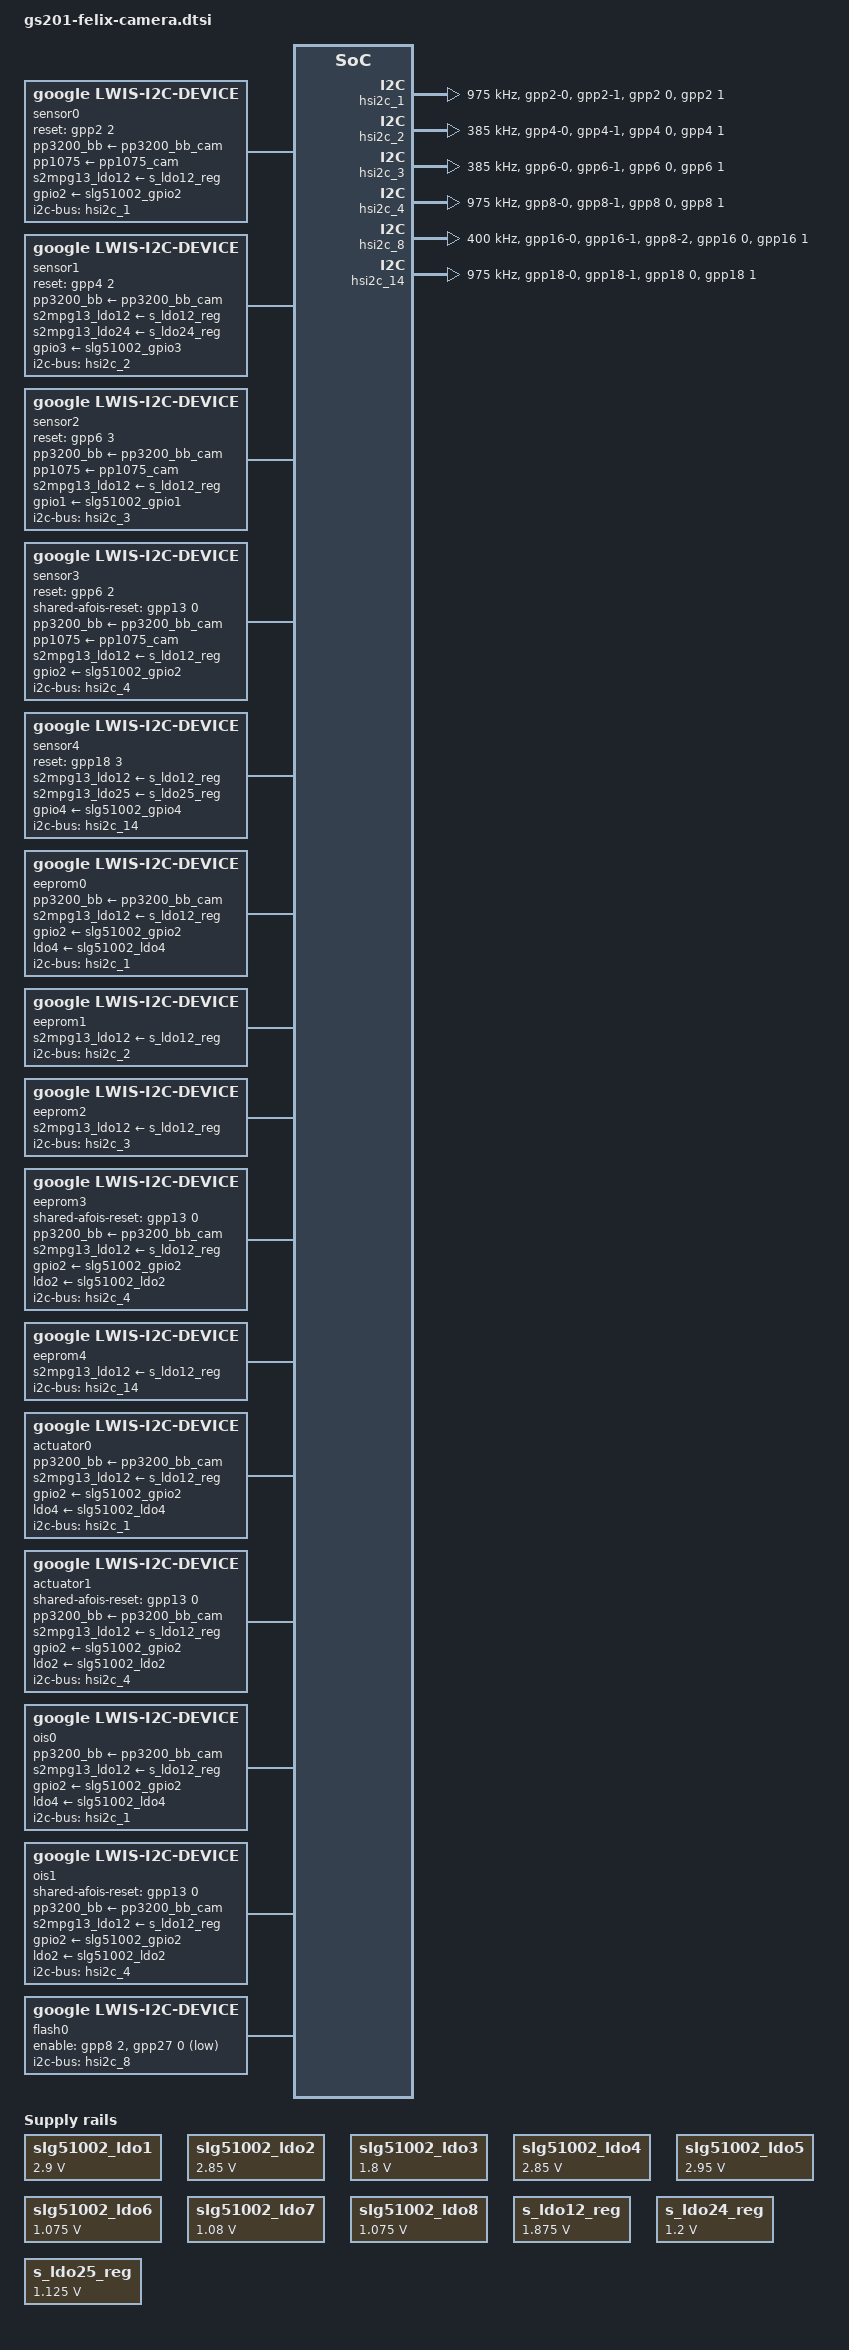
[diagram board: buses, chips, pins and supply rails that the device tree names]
// SPDX-License-Identifier: GPL-2.0-only
/*
 * gs201 camera lwis device tree for felix
 *
 * Copyright 2021 Google LLC.
 *
 */

#include <dt-bindings/clock/gs201.h>
#include <dt-bindings/gpio/gpio.h>
#include <arm64/exynos/exynos-pinctrl.h>
#include "gs201/gs101-pinctrl.h"

&slg51002_ldo1 {
	regulator-min-microvolt = <2900000>;
	regulator-max-microvolt = <2900000>;
};

&slg51002_ldo2 {
	regulator-min-microvolt = <2850000>;
	regulator-max-microvolt = <2850000>;
};

&slg51002_ldo3 {
	regulator-min-microvolt = <1800000>;
	regulator-max-microvolt = <1800000>;
};

&slg51002_ldo4 {
	regulator-min-microvolt = <2850000>;
	regulator-max-microvolt = <2850000>;
};

&slg51002_ldo5 {
	regulator-min-microvolt = <2950000>;
	regulator-max-microvolt = <2950000>;
};

&slg51002_ldo6 {
	regulator-min-microvolt = <1075000>;
	regulator-max-microvolt = <1075000>;
};

&slg51002_ldo7 {
	regulator-min-microvolt = <1080000>;
	regulator-max-microvolt = <1080000>;
};

&slg51002_ldo8 {
	regulator-min-microvolt = <1075000>;
	regulator-max-microvolt = <1075000>;
};

&s_ldo12_reg {
	regulator-min-microvolt = <1875000>;
	regulator-max-microvolt = <1875000>;
};

&s_ldo24_reg {
	regulator-min-microvolt = <1200000>;
	regulator-max-microvolt = <1200000>;
};

&s_ldo25_reg {
	regulator-min-microvolt = <1125000>;
	regulator-max-microvolt = <1125000>;
};

&pinctrl_4 {
	hsi2c1_bus: hsi2c1-bus {
		samsung,pin-pud = <EXYNOS_PIN_PULL_UP>;
	};

	hsi2c1_bus_in: hsi2c1-bus-in {
		samsung,pins = "gpp2-0", "gpp2-1";
		samsung,pin-function = <EXYNOS_PIN_FUNC_INPUT>;
		samsung,pin-pud = <EXYNOS_PIN_PULL_NONE>;
		samsung,pin-drv = <GS101_PIN_DRV_2_5_MA>;
	};

	hsi2c2_bus: hsi2c2-bus {
		samsung,pin-pud = <EXYNOS_PIN_PULL_UP>;
	};

	hsi2c2_bus_in: hsi2c2-bus-in {
		samsung,pins = "gpp4-0", "gpp4-1";
		samsung,pin-function = <EXYNOS_PIN_FUNC_INPUT>;
		samsung,pin-pud = <EXYNOS_PIN_PULL_NONE>;
		samsung,pin-drv = <GS101_PIN_DRV_2_5_MA>;
	};

	hsi2c3_bus: hsi2c3-bus {
		samsung,pin-pud = <EXYNOS_PIN_PULL_UP>;
	};

	hsi2c3_bus_in: hsi2c3-bus-in {
		samsung,pins = "gpp6-0", "gpp6-1";
		samsung,pin-function = <EXYNOS_PIN_FUNC_INPUT>;
		samsung,pin-pud = <EXYNOS_PIN_PULL_NONE>;
		samsung,pin-drv = <GS101_PIN_DRV_2_5_MA>;
	};

	hsi2c4_bus: hsi2c4-bus {
		samsung,pin-pud = <EXYNOS_PIN_PULL_UP>;
	};

	hsi2c4_bus_in: hsi2c4-bus-in {
		samsung,pins = "gpp8-0", "gpp8-1";
		samsung,pin-function = <EXYNOS_PIN_FUNC_INPUT>;
		samsung,pin-pud = <EXYNOS_PIN_PULL_NONE>;
		samsung,pin-drv = <GS101_PIN_DRV_2_5_MA>;
	};

	hsi2c14_bus: hsi2c14-bus {
		samsung,pin-pud = <EXYNOS_PIN_PULL_UP>;
	};

	hsi2c14_bus_in: hsi2c14-bus-in {
		samsung,pins = "gpp18-0", "gpp18-1";
		samsung,pin-function = <EXYNOS_PIN_FUNC_INPUT>;
		samsung,pin-pud = <EXYNOS_PIN_PULL_NONE>;
		samsung,pin-drv = <GS101_PIN_DRV_2_5_MA>;
	};

	hsi2c8_bus: hsi2c8-bus {
		samsung,pins = "gpp16-0", "gpp16-1";
		samsung,pin-con-pdn = <EXYNOS_PIN_PDN_PREV>;
	};

	/* GPP8[2] Flashlight Enable */
	flash_en: flash-en {
		samsung,pins = "gpp8-2";
		samsung,pin-function = <EXYNOS_PIN_FUNC_INPUT>;
		samsung,pin-pud = <EXYNOS_PIN_PULL_NONE>;
		samsung,pin-con-pdn = <EXYNOS_PIN_PDN_PREV>;
		samsung,pin-pud-pdn = <EXYNOS_PIN_PULL_NONE>;
	};

	sensor_mclk1_out: sensor-mclk1-out {
		samsung,pin-drv = <GS101_PIN_DRV_5_MA>;
	};
	sensor_mclk1_fn: sensor-mclk1-fn {
		samsung,pin-drv = <GS101_PIN_DRV_5_MA>;
	};
	sensor_mclk2_out: sensor-mclk2-out {
		samsung,pin-drv = <GS101_PIN_DRV_5_MA>;
	};
	sensor_mclk2_fn: sensor-mclk2-fn {
		samsung,pin-drv = <GS101_PIN_DRV_2_5_MA>;
	};
	sensor_mclk3_out: sensor-mclk3-out {
		samsung,pin-drv = <GS101_PIN_DRV_5_MA>;
	};
	sensor_mclk3_fn: sensor-mclk3-fn {
		samsung,pin-drv = <GS101_PIN_DRV_5_MA>;
	};
	sensor_mclk4_out: sensor-mclk4-out {
		samsung,pin-drv = <GS101_PIN_DRV_5_MA>;
	};
	sensor_mclk4_fn: sensor-mclk4-fn {
		samsung,pin-drv = <GS101_PIN_DRV_5_MA>;
	};
	sensor_mclk5_out: sensor-mclk5-out {
		samsung,pin-drv = <GS101_PIN_DRV_5_MA>;
	};
	sensor_mclk5_fn: sensor-mclk5-fn {
		samsung,pin-drv = <GS101_PIN_DRV_5_MA>;
	};
};

&hsi2c_1 {
	#address-cells = <1>;
	#size-cells = <0>;
	gpios = <&gpp2 0 GPIO_ACTIVE_HIGH &gpp2 1 GPIO_ACTIVE_HIGH>;
	status = "okay";
	clock-frequency = <975000>;
	samsung,reset-before-trans;

	pinctrl-names = "default","on_i2c","off_i2c";
	pinctrl-0 = <&hsi2c1_bus_in>;
	pinctrl-1 = <&hsi2c1_bus>;
	pinctrl-2 = <&hsi2c1_bus_in>;
};

&hsi2c_2 {
	#address-cells = <1>;
	#size-cells = <0>;
	gpios = <&gpp4 0 GPIO_ACTIVE_HIGH &gpp4 1 GPIO_ACTIVE_HIGH>;
	status = "okay";
	clock-frequency = <385000>;
	samsung,reset-before-trans;

	pinctrl-names = "default","on_i2c","off_i2c";
	pinctrl-0 = <&hsi2c2_bus_in>;
	pinctrl-1 = <&hsi2c2_bus>;
	pinctrl-2 = <&hsi2c2_bus_in>;
};

&hsi2c_3 {
	#address-cells = <1>;
	#size-cells = <0>;
	gpios = <&gpp6 0 GPIO_ACTIVE_HIGH &gpp6 1 GPIO_ACTIVE_HIGH>;
	status = "okay";
	clock-frequency = <385000>;
	samsung,reset-before-trans;

	pinctrl-names = "default","on_i2c","off_i2c";
	pinctrl-0 = <&hsi2c3_bus_in>;
	pinctrl-1 = <&hsi2c3_bus>;
	pinctrl-2 = <&hsi2c3_bus_in>;
};

&hsi2c_4 {
	#address-cells = <1>;
	#size-cells = <0>;
	gpios = <&gpp8 0 GPIO_ACTIVE_HIGH &gpp8 1 GPIO_ACTIVE_HIGH>;
	status = "okay";
	clock-frequency = <975000>;
	samsung,reset-before-trans;

	pinctrl-names = "default","on_i2c","off_i2c";
	pinctrl-0 = <&hsi2c4_bus_in>;
	pinctrl-1 = <&hsi2c4_bus>;
	pinctrl-2 = <&hsi2c4_bus_in>;
};

&hsi2c_8 {
	#address-cells = <1>;
	#size-cells = <0>;
	gpios = <&gpp16 0 GPIO_ACTIVE_HIGH &gpp16 1 GPIO_ACTIVE_HIGH>;
	status = "okay";
	clock-frequency = <400000>;

	pinctrl-names = "default","on_i2c","off_i2c","recovery";
	pinctrl-0 = <&hsi2c8_bus &flash_en>;
	pinctrl-1 = <&hsi2c8_bus>;
	pinctrl-2 = <&hsi2c8_bus>;
	pinctrl-3 = <>;
};

&hsi2c_14 {
	#address-cells = <1>;
	#size-cells = <0>;
	gpios = <&gpp18 0 GPIO_ACTIVE_HIGH &gpp18 1 GPIO_ACTIVE_HIGH>;
	status = "okay";
	clock-frequency = <975000>;

	pinctrl-names = "default","on_i2c","off_i2c";
	pinctrl-0 = <&hsi2c14_bus_in>;
	pinctrl-1 = <&hsi2c14_bus>;
	pinctrl-2 = <&hsi2c14_bus_in>;
};

/ {
	fragment@lwiscamera {
		target-path = "/";
		__overlay__ {
			/* REAR CAMERA OKSOKO */
			sensor0: sensor@0 {
				compatible = "google,lwis-i2c-device";

				/* Device node name */
				node-name = "sensor-oksoko";

				/* I2C */
				i2c-bus = <&hsi2c_1>;
				i2c-addr = <0x1A>;

				/* Registers */
				reg-addr-bitwidth = <16>;
				reg-value-bitwidth = <8>;

				/* GPIOs */
				/* CSID_RST_L GPP2[2] */
				reset-gpios = <&gpp2 2 GPIO_ACTIVE_HIGH>;

				/* Power supplies */
				pp3200_bb-supply = <&pp3200_bb_cam>;
				pp1075-supply = <&pp1075_cam>;
				s2mpg13_ldo12-supply = <&s_ldo12_reg>;
				gpio2-supply = <&slg51002_gpio2>;
				ldo1-supply = <&slg51002_ldo1>;
				ldo3-supply = <&slg51002_ldo3>;
				ldo4-supply = <&slg51002_ldo4>;
				ldo8-supply = <&slg51002_ldo8>;

				clocks =
					<&clock CIS_CLK3>,
					<&clock GATE_DFTMUX_CMU_CIS_CLK3>;
				clock-names =
					"CIS_CLK3",
					"GATE_DFTMUX_CMU_CIS_CLK3";
				clock-rates =
					<24000000>,
					<0>;

				/* MCLK Control */
				pinctrl-names = "mclk_on", "mclk_off";
				pinctrl-0 = <&sensor_mclk4_fn>;
				pinctrl-1 = <&sensor_mclk4_out>;

				/* Power up sequence */
				power-up-seqs =
					"pp3200_bb",
					"pp1075",
					"s2mpg13_ldo12",
					"gpio2",
					"ldo4",
					"ldo1",
					"ldo3",
					"ldo8",
					"reset",
					"mclk_on";
				power-up-seq-types =
					"regulator",
					"regulator",
					"regulator",
					"regulator",
					"regulator",
					"regulator",
					"regulator",
					"regulator",
					"gpio",
					"pinctrl";
				power-up-seq-delays-us =
					<0
					 0
					 1000
					 1000
					 1000
					 1000
					 1000
					 1000
					 1000
					 1000>;

				/* Power down sequence */
				power-down-seqs =
					"mclk_off",
					"reset",
					"ldo8",
					"ldo3",
					"ldo1",
					"ldo4",
					"gpio2",
					"s2mpg13_ldo12",
					"pp1075",
					"pp3200_bb";
				power-down-seq-types =
					"pinctrl",
					"gpio",
					"regulator",
					"regulator",
					"regulator",
					"regulator",
					"regulator",
					"regulator",
					"regulator",
					"regulator";
				power-down-seq-delays-us =
					<1000
					 1000
					 1000
					 1000
					 1000
					 1000
					 1000
					 1000
					 0
					 0>;
				transaction-thread-priority = <99>;
				i2c-lock-group-id = <0>;
			};

			/* FRONT CAMERA MEDUSA */
			sensor1: sensor@1 {
				compatible = "google,lwis-i2c-device";

				/* Device node name */
				node-name = "sensor-medusa";

				/* I2C */
				i2c-bus = <&hsi2c_2>;
				i2c-addr = <0x1A>;

				/* Registers */
				reg-addr-bitwidth = <16>;
				reg-value-bitwidth = <8>;

				/* GPIOs */
				reset-gpios = <&gpp4 2 GPIO_ACTIVE_HIGH>;

				/* Power supplies */
				pp3200_bb-supply = <&pp3200_bb_cam>;
				s2mpg13_ldo12-supply = <&s_ldo12_reg>;
				s2mpg13_ldo24-supply = <&s_ldo24_reg>;
				gpio3-supply = <&slg51002_gpio3>;

				clocks =
					<&clock CIS_CLK1>,
					<&clock GATE_DFTMUX_CMU_CIS_CLK1>;
				clock-names =
					"CIS_CLK1",
					"GATE_DFTMUX_CMU_CIS_CLK1";
				clock-rates =
					<24000000>,
					<0>;

				/* MCLK Control */
				pinctrl-names = "mclk_on", "mclk_off";
				pinctrl-0 = <&sensor_mclk2_fn>;
				pinctrl-1 = <&sensor_mclk2_out>;

				/* Power up sequence */
				power-up-seqs =
					"pp3200_bb",
					"s2mpg13_ldo12",
					"gpio3",
					"s2mpg13_ldo24",
					"mclk_on",
					"reset";
				power-up-seq-types =
					"regulator",
					"regulator",
					"regulator",
					"regulator",
					"pinctrl",
					"gpio";
				power-up-seq-delays-us =
					<0
					 1000
					 1000
					 1000
					 1000
					 1000>;

				/* Power down sequence */
				power-down-seqs =
					"reset",
					"mclk_off",
					"s2mpg13_ldo24",
					"gpio3",
					"s2mpg13_ldo12",
					"pp3200_bb";
				power-down-seq-types =
					"gpio",
					"pinctrl",
					"regulator",
					"regulator",
					"regulator",
					"regulator";
				power-down-seq-delays-us =
					<1000
					 1000
					 1000
					 1000
					 1000
					 0>;
				transaction-thread-priority = <99>;
				i2c-lock-group-id = <1>;
			};

			/* REAR ULTRA WIDE CAMERA SANDWORM */
			sensor2: sensor@2 {
				compatible = "google,lwis-i2c-device";

				/* Device node name */
				node-name = "sensor-sandworm";

				/* I2C */
				i2c-bus = <&hsi2c_3>;
				i2c-addr = <0x1A>;

				/* Registers */
				reg-addr-bitwidth = <16>;
				reg-value-bitwidth = <8>;

				/* GPIOs */
				reset-gpios = <&gpp6 3 GPIO_ACTIVE_HIGH>;

				/* Power supplies */
				pp3200_bb-supply = <&pp3200_bb_cam>;
				pp1075-supply = <&pp1075_cam>;
				s2mpg13_ldo12-supply = <&s_ldo12_reg>;
				gpio1-supply = <&slg51002_gpio1>;
				ldo6-supply = <&slg51002_ldo6>;

				clocks =
					<&clock CIS_CLK0>,
					<&clock GATE_DFTMUX_CMU_CIS_CLK0>;
				clock-names =
					"CIS_CLK0",
					"GATE_DFTMUX_CMU_CIS_CLK0";
				clock-rates =
					<24000000>,
					<0>;

				/* MCLK Control */
				pinctrl-names = "mclk_on", "mclk_off";
				pinctrl-0 = <&sensor_mclk1_fn>;
				pinctrl-1 = <&sensor_mclk1_out>;

				/* Power up sequence */
				power-up-seqs =
					"pp3200_bb",
					"pp1075",
					"s2mpg13_ldo12",
					"gpio1",
					"ldo6",
					"reset",
					"mclk_on";
				power-up-seq-types =
					"regulator",
					"regulator",
					"regulator",
					"regulator",
					"regulator",
					"gpio",
					"pinctrl";
				power-up-seq-delays-us =
					<0
					 0
					 1000
					 1000
					 1000
					 1000
					 10000>;

				/* Power down sequence */
				power-down-seqs =
					"mclk_off",
					"reset",
					"ldo6",
					"gpio1",
					"s2mpg13_ldo12",
					"pp1075",
					"pp3200_bb";
				power-down-seq-types =
					"pinctrl",
					"gpio",
					"regulator",
					"regulator",
					"regulator",
					"regulator",
					"regulator";
				power-down-seq-delays-us =
					<1000
					 1000
					 1000
					 1000
					 1000
					 0
					 0>;
				transaction-thread-priority = <99>;
				i2c-lock-group-id = <2>;
			};

			/* REAR TELE CAMERA DOKKAEBI */
			sensor3: sensor@3 {
				compatible = "google,lwis-i2c-device";

				/* Device node name */
				node-name = "sensor-dokkaebi-tele";

				/* I2C */
				i2c-bus = <&hsi2c_4>;
				i2c-addr = <0x10>;

				/* Registers */
				reg-addr-bitwidth = <16>;
				reg-value-bitwidth = <16>;

				/* GPIOs */
				reset-gpios = <&gpp6 2 GPIO_ACTIVE_HIGH>;
				shared-afois-reset-gpios =
					<&gpp13 0 GPIO_ACTIVE_HIGH>;

				/* Power supplies */
				pp3200_bb-supply = <&pp3200_bb_cam>;
				pp1075-supply = <&pp1075_cam>;
				s2mpg13_ldo12-supply = <&s_ldo12_reg>;
				gpio2-supply = <&slg51002_gpio2>;
				ldo2-supply = <&slg51002_ldo2>;
				ldo5-supply = <&slg51002_ldo5>;
				ldo7-supply = <&slg51002_ldo7>;

				clocks =
					<&clock CIS_CLK2>,
					<&clock GATE_DFTMUX_CMU_CIS_CLK2>;
				clock-names =
					"CIS_CLK2",
					"GATE_DFTMUX_CMU_CIS_CLK2";
				clock-rates =
					<24000000>,
					<0>;

				/* MCLK Control */
				pinctrl-names = "mclk_on", "mclk_off";
				pinctrl-0 = <&sensor_mclk3_fn>;
				pinctrl-1 = <&sensor_mclk3_out>;

				/* Power up sequence */
				power-up-seqs =
					"pp3200_bb",
					"pp1075",
					"s2mpg13_ldo12",
					"gpio2",
					"ldo2",
					"shared-afois-reset",
					"ldo5",
					"ldo7",
					"reset",
					"mclk_on";
				power-up-seq-types =
					"regulator",
					"regulator",
					"regulator",
					"regulator",
					"regulator",
					"gpio",
					"regulator",
					"regulator",
					"gpio",
					"pinctrl";
				power-up-seq-delays-us =
					<0
					 0
					 1000
					 1000
					 2500
					 1000
					 1000
					 1000
					 1000
					 1000>;

				/* Power down sequence */
				power-down-seqs =
					"mclk_off",
					"reset",
					"ldo7",
					"ldo5",
					"shared-afois-reset",
					"ldo2",
					"gpio2",
					"s2mpg13_ldo12",
					"pp1075",
					"pp3200_bb";
				power-down-seq-types =
					"pinctrl",
					"gpio",
					"regulator",
					"regulator",
					"gpio",
					"regulator",
					"regulator",
					"regulator",
					"regulator",
					"regulator";
				power-down-seq-delays-us =
					<1000
					 1000
					 1000
					 1000
					 2500
					 1000
					 1000
					 1000
					 0
					 0>;
				transaction-thread-priority = <99>;
				i2c-lock-group-id = <3>;
			};

			/* FRONT CAMERA DOKKAEBI */
			sensor4: sensor@4 {
				compatible = "google,lwis-i2c-device";

				/* Device node name */
				node-name = "sensor-dokkaebi";

				/* I2C */
				i2c-bus = <&hsi2c_14>;
				i2c-addr = <0x10>;

				/* Registers */
				reg-addr-bitwidth = <16>;
				reg-value-bitwidth = <16>;

				/* GPIOs */
				reset-gpios = <&gpp18 3 GPIO_ACTIVE_HIGH>;

				/* Power supplies */
				s2mpg13_ldo12-supply = <&s_ldo12_reg>;
				s2mpg13_ldo25-supply = <&s_ldo25_reg>;
				gpio4-supply = <&slg51002_gpio4>;

				clocks =
					<&clock CIS_CLK4>,
					<&clock GATE_DFTMUX_CMU_CIS_CLK4>;
				clock-names =
					"CIS_CLK4",
					"GATE_DFTMUX_CMU_CIS_CLK4";
				clock-rates =
					<24000000>,
					<0>;

				/* MCLK Control */
				pinctrl-names = "mclk_on", "mclk_off";
				pinctrl-0 = <&sensor_mclk5_fn>;
				pinctrl-1 = <&sensor_mclk5_out>;

				/* Power up sequence */
				power-up-seqs =
					"s2mpg13_ldo12",
					"gpio4",
					"s2mpg13_ldo25",
					"reset",
					"mclk_on";
				power-up-seq-types =
					"regulator",
					"regulator",
					"regulator",
					"gpio",
					"pinctrl";
				power-up-seq-delays-us =
					<1000
					 1000
					 1000
					 1000
					 1000>;

				/* Power down sequence */
				power-down-seqs =
					"mclk_off",
					"reset",
					"s2mpg13_ldo25",
					"gpio4",
					"s2mpg13_ldo12";
				power-down-seq-types =
					"pinctrl",
					"gpio",
					"regulator",
					"regulator",
					"regulator";
				power-down-seq-delays-us =
					<1000
					 1000
					 1000
					 1000
					 1000>;
				transaction-thread-priority = <99>;
				i2c-lock-group-id = <4>;
			};

			/* Eeprom nessie for oksoko */
			eeprom0: eeprom@0 {
				compatible = "google,lwis-i2c-device";

				/* Device node name */
				node-name = "eeprom-nessie";

				/* I2C */
				i2c-bus = <&hsi2c_1>;
				i2c-addr = <0x24>;

				/* Registers */
				reg-addr-bitwidth = <16>;
				reg-value-bitwidth = <32>;

				/* Power supplies */
				pp3200_bb-supply = <&pp3200_bb_cam>;
				s2mpg13_ldo12-supply = <&s_ldo12_reg>;
				gpio2-supply = <&slg51002_gpio2>;
				ldo4-supply = <&slg51002_ldo4>;

				/* Power up sequence */
				power-up-seqs =
					"pp3200_bb",
					"s2mpg13_ldo12",
					"gpio2",
					"ldo4";
				power-up-seq-types =
					"regulator",
					"regulator",
					"regulator",
					"regulator";
				power-up-seq-delays-us =
					<0
					 1000
					 1000
					 1000>;

				/* Power down sequence */
				power-down-seqs =
					"ldo4",
					"gpio2",
					"s2mpg13_ldo12",
					"pp3200_bb";
				power-down-seq-types =
					"regulator",
					"regulator",
					"regulator",
					"regulator";
				power-down-seq-delays-us =
					<1000
					 1000
					 1000
					 0>;
				i2c-lock-group-id = <0>;
			};

			/* Eeprom smaug for medusa */
			eeprom1: eeprom@1 {
				compatible = "google,lwis-i2c-device";

				/* Device node name */
				node-name = "eeprom-smaug-medusa";

				/* I2C */
				i2c-bus = <&hsi2c_2>;
				i2c-addr = <0x50>;

				/* Registers */
				reg-addr-bitwidth = <16>;
				reg-value-bitwidth = <8>;

				/* Power supplies */
				s2mpg13_ldo12-supply = <&s_ldo12_reg>;

				/* Power up sequence */
				power-up-seqs =
					"s2mpg13_ldo12";
				power-up-seq-types =
					"regulator";
				power-up-seq-delays-us =
					<1000>;

				/* Power down sequence */
				power-down-seqs =
					"s2mpg13_ldo12";
				power-down-seq-types =
					"regulator";
				power-down-seq-delays-us =
					<1000>;
				i2c-lock-group-id = <1>;
			};

			/* Eeprom smaug for sandworm */
			eeprom2: eeprom@2 {
				compatible = "google,lwis-i2c-device";

				/* Device node name */
				node-name = "eeprom-smaug-sandworm";

				/* I2C */
				i2c-bus = <&hsi2c_3>;
				i2c-addr = <0x50>;

				/* Registers */
				reg-addr-bitwidth = <16>;
				reg-value-bitwidth = <8>;

				/* Power supplies */
				s2mpg13_ldo12-supply = <&s_ldo12_reg>;

				/* Power up sequence */
				power-up-seqs =
					"s2mpg13_ldo12";
				power-up-seq-types =
					"regulator";
				power-up-seq-delays-us =
					<1000>;

				/* Power down sequence */
				power-down-seqs =
					"s2mpg13_ldo12";
				power-down-seq-types =
					"regulator";
				power-down-seq-delays-us =
					<1000>;
				i2c-lock-group-id = <2>;
			};

			/* Eeprom jotnar for dokkaebi tele */
			eeprom3: eeprom@3 {
				compatible = "google,lwis-i2c-device";

				/* Device node name */
				node-name = "eeprom-jotnar";

				/* I2C */
				i2c-bus = <&hsi2c_4>;
				i2c-addr = <0x34>;

				/* Registers */
				reg-addr-bitwidth = <16>;
				reg-value-bitwidth = <8>;

				/* GPIOs */
				shared-afois-reset-gpios =
					<&gpp13 0 GPIO_ACTIVE_HIGH>;

				/* Power supplies */
				pp3200_bb-supply = <&pp3200_bb_cam>;
				s2mpg13_ldo12-supply = <&s_ldo12_reg>;
				gpio2-supply = <&slg51002_gpio2>;
				ldo2-supply = <&slg51002_ldo2>;

				/* Power up sequence */
				power-up-seqs =
					"pp3200_bb",
					"s2mpg13_ldo12",
					"gpio2",
					"ldo2",
					"shared-afois-reset";
				power-up-seq-types =
					"regulator",
					"regulator",
					"regulator",
					"regulator",
					"gpio";
				power-up-seq-delays-us =
					<0
					 1000
					 1000
					 2500
					 1000>;

				/* Power down sequence */
				power-down-seqs =
					"shared-afois-reset",
					"ldo2",
					"gpio2",
					"s2mpg13_ldo12",
					"pp3200_bb";
				power-down-seq-types =
					"gpio",
					"regulator",
					"regulator",
					"regulator",
					"regulator";
				power-down-seq-delays-us =
					<2500
					 1000
					 1000
					 1000
					 0>;
				i2c-lock-group-id = <3>;
			};

			/* Eeprom smaug for dokkaebi */
			eeprom4: eeprom@4 {
				compatible = "google,lwis-i2c-device";

				/* Device node name */
				node-name = "eeprom-smaug-dokkaebi";

				/* I2C */
				i2c-bus = <&hsi2c_14>;
				i2c-addr = <0x50>;

				/* Registers */
				reg-addr-bitwidth = <16>;
				reg-value-bitwidth = <8>;

				/* Power supplies */
				s2mpg13_ldo12-supply = <&s_ldo12_reg>;

				/* Power up sequence */
				power-up-seqs =
					"s2mpg13_ldo12";
				power-up-seq-types =
					"regulator";
				power-up-seq-delays-us =
					<1000>;

				/* Power down sequence */
				power-down-seqs =
					"s2mpg13_ldo12";
				power-down-seq-types =
					"regulator";
				power-down-seq-delays-us =
					<1000>;
				i2c-lock-group-id = <4>;
			};

			/* Actuator nessie for oksoko */
			actuator0: actuator@0 {
				compatible = "google,lwis-i2c-device";

				/* Device node name */
				node-name = "act-nessie";

				/* I2C */
				i2c-bus = <&hsi2c_1>;
				i2c-addr = <0x24>;

				/* Registers */
				reg-addr-bitwidth = <16>;
				reg-value-bitwidth = <32>;

				/* Power supplies */
				pp3200_bb-supply = <&pp3200_bb_cam>;
				s2mpg13_ldo12-supply = <&s_ldo12_reg>;
				gpio2-supply = <&slg51002_gpio2>;
				ldo4-supply = <&slg51002_ldo4>;

				/* Power up sequence */
				power-up-seqs =
					"pp3200_bb",
					"s2mpg13_ldo12",
					"gpio2",
					"ldo4";
				power-up-seq-types =
					"regulator",
					"regulator",
					"regulator",
					"regulator";
				power-up-seq-delays-us =
					<0
					 1000
					 1000
					 1000>;

				/* Power down sequence */
				power-down-seqs =
					"ldo4",
					"gpio2",
					"s2mpg13_ldo12",
					"pp3200_bb";
				power-down-seq-types =
					"regulator",
					"regulator",
					"regulator",
					"regulator";
				power-down-seq-delays-us =
					<1000
					 1000
					 1000
					 0>;
				transaction-thread-priority = <99>;
				i2c-lock-group-id = <0>;
			};

			/* Actuator jotnar for dokkaebi tele */
			actuator1: actuator@1 {
				compatible = "google,lwis-i2c-device";

				/* Device node name */
				node-name = "act-jotnar";

				/* I2C */
				i2c-bus = <&hsi2c_4>;
				i2c-addr = <0x34>;

				/* Registers */
				reg-addr-bitwidth = <16>;
				reg-value-bitwidth = <8>;

				/* GPIOs */
				shared-afois-reset-gpios =
					<&gpp13 0 GPIO_ACTIVE_HIGH>;

				/* Power supplies */
				pp3200_bb-supply = <&pp3200_bb_cam>;
				s2mpg13_ldo12-supply = <&s_ldo12_reg>;
				gpio2-supply = <&slg51002_gpio2>;
				ldo2-supply = <&slg51002_ldo2>;

				/* Power up sequence */
				power-up-seqs =
					"pp3200_bb",
					"s2mpg13_ldo12",
					"gpio2",
					"ldo2",
					"shared-afois-reset";
				power-up-seq-types =
					"regulator",
					"regulator",
					"regulator",
					"regulator",
					"gpio";
				power-up-seq-delays-us =
					<0
					 1000
					 1000
					 2500
					 1000>;

				/* Power down sequence */
				power-down-seqs =
					"shared-afois-reset",
					"ldo2",
					"gpio2",
					"s2mpg13_ldo12",
					"pp3200_bb";
				power-down-seq-types =
					"gpio",
					"regulator",
					"regulator",
					"regulator",
					"regulator";
				power-down-seq-delays-us =
					<2500
					 1000
					 1000
					 1000
					 0>;
				transaction-thread-priority = <99>;
				i2c-lock-group-id = <1>;
			};

			/* Ois nessie for oksoko */
			ois0: ois@0 {
				compatible = "google,lwis-i2c-device";

				/* Device node name */
				node-name = "ois-nessie";

				/* I2C */
				i2c-bus = <&hsi2c_1>;
				i2c-addr = <0x24>;

				/* Registers */
				reg-addr-bitwidth = <16>;
				reg-value-bitwidth = <32>;

				/* Power supplies */
				pp3200_bb-supply = <&pp3200_bb_cam>;
				s2mpg13_ldo12-supply = <&s_ldo12_reg>;
				gpio2-supply = <&slg51002_gpio2>;
				ldo4-supply = <&slg51002_ldo4>;

				/* Power up sequence */
				power-up-seqs =
					"pp3200_bb",
					"s2mpg13_ldo12",
					"gpio2",
					"ldo4";
				power-up-seq-types =
					"regulator",
					"regulator",
					"regulator",
					"regulator";
				power-up-seq-delays-us =
					<0
					 1000
					 1000
					 1000>;

				/* Power down sequence */
				power-down-seqs =
					"ldo4",
					"gpio2",
					"s2mpg13_ldo12",
					"pp3200_bb";
				power-down-seq-types =
					"regulator",
					"regulator",
					"regulator",
					"regulator";
				power-down-seq-delays-us =
					<1000
					 1000
					 1000
					 0>;
				transaction-thread-priority = <99>;
				i2c-lock-group-id = <0>;
			};

			/* Ois jotnar for dokkaebi tele */
			ois1: ois@1 {
				compatible = "google,lwis-i2c-device";

				/* Device node name */
				node-name = "ois-jotnar";

				/* I2C */
				i2c-bus = <&hsi2c_4>;
				i2c-addr = <0x34>;

				/* Registers */
				reg-addr-bitwidth = <16>;
				reg-value-bitwidth = <8>;

				/* GPIOs */
				shared-afois-reset-gpios =
					<&gpp13 0 GPIO_ACTIVE_HIGH>;

				/* Power supplies */
				pp3200_bb-supply = <&pp3200_bb_cam>;
				s2mpg13_ldo12-supply = <&s_ldo12_reg>;
				gpio2-supply = <&slg51002_gpio2>;
				ldo2-supply = <&slg51002_ldo2>;

				/* Power up sequence */
				power-up-seqs =
					"pp3200_bb",
					"s2mpg13_ldo12",
					"gpio2",
					"ldo2",
					"shared-afois-reset";
				power-up-seq-types =
					"regulator",
					"regulator",
					"regulator",
					"regulator",
					"gpio";
				power-up-seq-delays-us =
					<0
					 1000
					 1000
					 2500
					 1000>;

				/* Power down sequence */
				power-down-seqs =
					"shared-afois-reset",
					"ldo2",
					"gpio2",
					"s2mpg13_ldo12",
					"pp3200_bb";
				power-down-seq-types =
					"gpio",
					"regulator",
					"regulator",
					"regulator",
					"regulator";
				power-down-seq-delays-us =
					<2500
					 1000
					 1000
					 1000
					 0>;
				transaction-thread-priority = <99>;
				i2c-lock-group-id = <1>;
			};

			flash0: flash@0 {
				compatible = "google,lwis-i2c-device";

				/* Device node name */
				node-name = "flash-lm3644";

				/* I2C */
				i2c-bus = <&hsi2c_8>;
				i2c-addr = <0x63>;

				/* Registers */
				reg-addr-bitwidth = <8>;
				reg-value-bitwidth = <8>;

				/* Power Management hibernation (deep sleep) */
				/* 1 : enable, 0 : disable */
				pm-hibernation = <0>;

				/* GPIOs */
				/* HW_ENABLE GPP8[2] */
				/* FLASH_STROBE GPP27[0] */
				enable-gpios =
					<&gpp8 2 GPIO_ACTIVE_HIGH
					 &gpp27 0 GPIO_ACTIVE_LOW>;
			};
		};
	};
};
